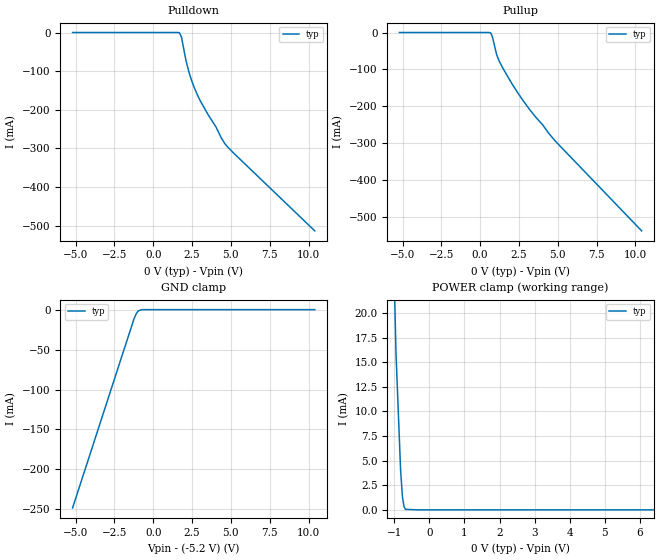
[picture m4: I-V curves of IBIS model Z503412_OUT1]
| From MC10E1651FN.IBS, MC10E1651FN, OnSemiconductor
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| (C) COPYRIGHT 1993-2000
| MENTOR GRAPHICS CORPORATION
| ICX STANDARD LIBRARY, ICX PROJECT MODELING,
| ICX CUSTOM MODELING, ICX VENDOR MODEL
| ALL RIGHTS RESERVED.
| THE FOLLOWING ARE TRADEMARKS OR SERVICE MARKS OF
| MENTOR GRAPHICS CORPORATION:ICX (R), ICX STANDARD
| LIBRARY(R), ICX PROJECT MODELING(R), ICX CUSTOM
| MODELING(R), qualityIBIS(TM), MODELVIEWER(TM),
| AND MODELEDITOR(TM)
| ALL COPIES OF SOFTWARE, INCLUDING BUT NOT LIMITED TO
| ANY MODIFICATIONS, ENHANCEMENTS OR DERIVATIVE WORKS,
| MUST CONTAIN ALL MENTOR GRAPHICS CORPORATION'S
| NOTICES AND LEGENDS, INCLUDING THOSE EMBEDDED IN
| SOFTWARE AND THOSE AFFIXED TO SOFTWARE MEDIUM
| AND CONTAINER, AS RECEIVED FROM MENTOR GRAPHICS
| CORPORATION.
| Model Application Version 1.89 2/18/99.
[Model] Z503412_OUT1
Model_type Output_ECL
Vref=-2.000V
Rref=50.00ohms
Cref=0.000F
Vmeas=-1.305V
C_comp 8.000pF NA NA
| variable typ   min   max
[Voltage Range] -5.200V NA NA
[POWER Clamp Reference] 0.000V NA NA
[Pullup Reference] 0.000V NA NA
[Pulldown Reference] 0.000V NA NA
[GND Clamp Reference] -5.200V NA NA
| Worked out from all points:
|   GND clamp passes 1 mA (typ) near -0.89 V on its own axis
|   POWER clamp passes 1 mA (typ) near -0.76 V on its own axis
[GND Clamp]
-5.2V     -248.3mA   NA         NA
-1.233V   -10.92mA   NA         NA
-1.104V   -5.391mA   NA         NA
-971mV    -1.513mA   NA         NA
-728.3mV  0A         NA         NA
10.4V     0A         NA         NA
[Pulldown]
-5.2V     220.8uA    NA         NA
1.685V    -534.8uA   NA         NA
1.816V    -11.68mA   NA         NA
2.104V    -72.08mA   NA         NA
2.292V    -101.6mA   NA         NA
2.628V    -141.2mA   NA         NA
3.028V    -176.8mA   NA         NA
4.038V    -244.3mA   NA         NA
4.38V     -272.6mA   NA         NA
4.604V    -287.3mA   NA         NA
5.195V    -312.7mA   NA         NA
10.4V     -513.2mA   NA         NA
[Pullup]
-5.2V     167.7uA    NA         NA
685mV     -1.312mA   NA         NA
795.8mV   -12.73mA   NA         NA
1.06V     -59.77mA   NA         NA
1.221V    -76.8mA    NA         NA
1.441V    -95.06mA   NA         NA
2.425V    -163.6mA   NA         NA
3.194V    -209.2mA   NA         NA
4.032V    -250.6mA   NA         NA
4.401V    -272.3mA   NA         NA
4.839V    -294.3mA   NA         NA
10.4V     -537.8mA   NA         NA
[POWER Clamp]
-5.2V     1.233A     NA         NA
-1.182V   59.15mA    NA         NA
-1.069V   33.14mA    NA         NA
-951.3mV  15.8mA     NA         NA
-820.8mV  3.987mA    NA         NA
-766.6mV  1.239mA    NA         NA
-722.9mV  315.9uA    NA         NA
-684.7mV  53.2uA     NA         NA
-342.4mV  0A         NA         NA
10.4V     0A         NA         NA
[Ramp]
| variable typ min max
dV/dt_r 532.0m/1.116n NA NA
dV/dt_f 532.0m/572.7p NA NA
R_load = 50.00Ohms
